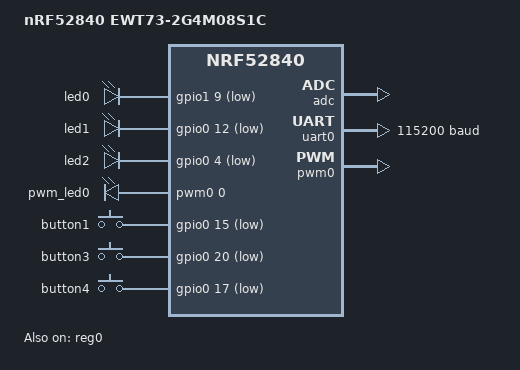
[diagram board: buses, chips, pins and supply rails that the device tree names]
/*
 * Copyright (c) 2025 maminjie <canpool@163.com>
 *
 * SPDX-License-Identifier: Apache-2.0
 */

/dts-v1/;
#include <nordic/nrf52840_qiaa.dtsi>
#include <nordic/nrf52840_partition.dtsi>
#include "nrf52840_e73_2g4m08s1c-pinctrl.dtsi"
#include <zephyr/dt-bindings/input/input-event-codes.h>

/ {
	model = "nRF52840 EWT73-2G4M08S1C";
	compatible = "nordic,nrf52840-dk-nrf52840";

	chosen {
		zephyr,console = &uart0;
		zephyr,shell-uart = &uart0;
	};

	leds {
		compatible = "gpio-leds";
		led0: led_0 {
			gpios = <&gpio1 9 GPIO_ACTIVE_LOW>;
		};
		led1: led_1 {
			gpios = <&gpio0 12 GPIO_ACTIVE_LOW>;
		};
		led2: led_2 {
			gpios = <&gpio0 4 GPIO_ACTIVE_LOW>;
		};
	};

	pwmleds {
		compatible = "pwm-leds";
		pwm_led0: pwm_led_0 {
			pwms = <&pwm0 0 PWM_MSEC(20) PWM_POLARITY_INVERTED>;
		};
	};

	buttons {
		compatible = "gpio-keys";
		button1: button_1 {
			gpios = <&gpio0 15 (GPIO_PULL_UP | GPIO_ACTIVE_LOW)>;
			zephyr,code = <INPUT_KEY_0>;
		};
		button3: button_3 {
			gpios = <&gpio0 20 (GPIO_PULL_UP | GPIO_ACTIVE_LOW)>;
			zephyr,code = <INPUT_KEY_1>;
		};
		button4: button_4 {
			gpios = <&gpio0 17 (GPIO_PULL_UP | GPIO_ACTIVE_LOW)>;
			zephyr,code = <INPUT_KEY_2>;
		};
	};

	/* These aliases are provided for compatibility with samples */
	aliases {
		led0 = &led0;
		led1 = &led1;
		led2 = &led2;
		pwm-led0 = &pwm_led0;
		sw0 = &button1;
		sw1 = &button3;
		sw2 = &button4;
	};
};

&reg0 {
	status = "okay";
};

&reg1 {
	regulator-initial-mode = <NRF5X_REG_MODE_DCDC>;
};

&adc {
	status = "okay";
};

&uicr {
	gpio-as-nreset;
};

&gpiote {
	status = "okay";
};

&gpio0 {
	status = "okay";
};

&gpio1 {
	status = "okay";
};

&uart0 {
	compatible = "nordic,nrf-uarte";
	status = "okay";
	current-speed = <115200>;
	pinctrl-0 = <&uart0_default>;
	pinctrl-1 = <&uart0_sleep>;
	pinctrl-names = "default", "sleep";
};

&pwm0 {
	status = "okay";
	pinctrl-0 = <&pwm0_default>;
	pinctrl-1 = <&pwm0_sleep>;
	pinctrl-names = "default", "sleep";
};
